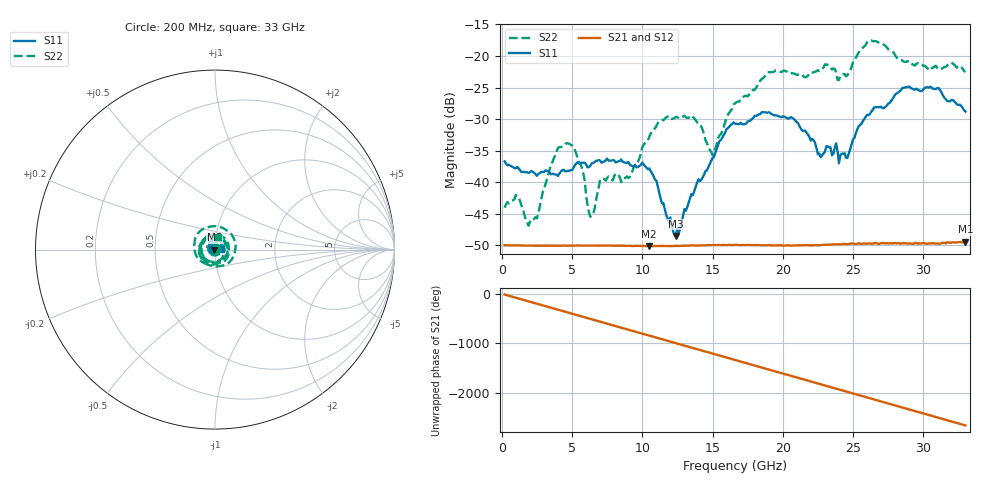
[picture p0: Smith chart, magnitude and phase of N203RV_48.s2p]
# GHZ S RI R 50
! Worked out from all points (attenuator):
!   329 points, 200 MHz to 33 GHz, reference 50 ohm
!   highest |S21| = -49.41 dB at 33 GHz (marker M1); lowest = -50.1 dB at 10.5 GHz (marker M2)
!   lowest |S11| = -48.5 dB at 12.4 GHz (marker M3), VSWR 1.01, Z = 49.6 - j0.0157 ohm
!   |S11| at or under -10 dB: start of sweep to end of sweep
!   |S22| runs from -46.9 to -17.5 dB; largest |S21 - S12| = 7.2e-05
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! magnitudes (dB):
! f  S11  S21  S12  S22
! 200 MHz  -36.7  -50.0  -50.0  -44.0
! 2.5 GHz  -39.0  -50.0  -50.0  -45.7
! 3.5 GHz  -38.8  -50.0  -50.0  -37.1
! 4.6 GHz  -38.3  -50.0  -50.0  -33.8
! 5.7 GHz  -36.9  -50.0  -50.0  -37.7
! 6.3 GHz  -37.4  -50.0  -50.0  -45.5
! 7 GHz  -36.6  -50.0  -50.0  -39.5
! 9.1 GHz  -37.2  -50.1  -50.1  -39.2
! 10.5 GHz  -37.8  -50.1  -50.1  -32.8
! 11.2 GHz  -41.6  -50.1  -50.1  -30.4
! 12.4 GHz  -48.5  -50.1  -50.1  -29.6
! 14.1 GHz  -39.8  -50.0  -50.0  -30.7
! 15 GHz  -36.2  -49.9  -49.9  -35.7
! 16.6 GHz  -30.7  -49.9  -49.9  -27.5
! 19 GHz  -28.9  -50.0  -49.9  -22.6
! 22.1 GHz  -33.1  -50.0  -49.9  -22.7
! 23.8 GHz  -33.8  -49.8  -49.8  -22.6
! 24 GHz  -37.0  -49.8  -49.8  -23.8
! 26.1 GHz  -29.4  -49.7  -49.6  -17.6
! 27.6 GHz  -27.5  -49.6  -49.7  -19.1
! 30.5 GHz  -24.9  -49.7  -49.7  -22.3
! 33 GHz  -28.8  -49.4  -49.4  -22.5
